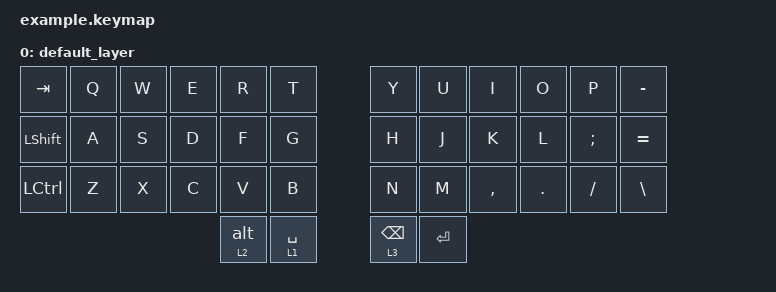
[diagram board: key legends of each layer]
 /*
 * Copyright (c) 2020 The ZMK Contributors
 *
 * SPDX-License-Identifier: MIT
 */

// 디폴트 키맵 설정

#include <behaviors.dtsi>
#include <dt-bindings/zmk/keys.h>


// 키 레이어 
#define DEFAULT 0 // 디폴트 아무것도 안 눌렀을때
#define UPPER 1 // 펑션 숫자, 기호 
#define LOWER 2 // 

/ {
    behaviors {
        td0: tap_dance_0 { //UPPER layer F11 F12 버튼 탭댄스
            compatible = "zmk,behavior-tap-dance";
            #binding-cells = <1>;
            tapping-term-ms = <200>;
            bindings = <&kp F11>, <&kp F12>;
        };

         td1: tap_dance_1 { //UPPER layer RALT,  버튼 탭댄스
            compatible = "zmk,behavior-tap-dance";
            #binding-cells = <1>;
            tapping-term-ms = <200>;
            bindings = <&kp F11>, <&kp F12>;
        };
    };



/ {
    keymap {
        compatible = "zmk,keymap";
 
        default_layer {
// ------------------------------------------------------------------------------------------------------------
// |  TAB  |  Q  |  W  |  E   |  R   |  T   |                             |  Y   |  U    |  I    |  O   |   P   |   -   |
// |  LSHIFT |  A  |  S  |  D   |  F   |  G   |                         |  H   |  J    |  K    |  L   |   ;   |   '   |
// |   LCTRL   |  Z  |  X  |  C   |  V   |  B   |                   |  N   |  M    |  ,    |  .   |   /   | SHIFT |
//                                 | ALT  | SPACE |               | BSPC |  ENTER  | 
bindings = <
&kp TAB   &kp Q         &kp W         &kp E          &kp R           &kp T                    /**/            &kp Y      &kp U           &kp I          &kp O         &kp P            &kp MINUS
&kp LSHIFT  &kp A         &kp S         &kp D          &kp F           &kp G                    /**/            &kp H      &kp J           &kp K          &kp L         &kp SEMI         &kp EQUAL
&kp LCTRL     &kp Z         &kp X         &kp C          &kp V           &kp B                    /**/            &kp N      &kp M           &kp COMMA      &kp DOT       &kp FSLH         &kp BSLH
                                                     &lt 2 alt       &lt 1 SPACE                /**/              &lt 3 BSPC   &kp RET                           
            >;
        };

// ------------------------------------------------------------------------------------------------------------
// |  ESC  |  F1 |  F2 |  F3  |  F4  |  F5  |                   |  F6  |  F7   |  F8   |  F9  |  F10  |F12, F12|
// | LSHIFT|  1  |  2  |  3   |  4   |  5   |                   |  6   |  7    |  8    |  9   |   10   |   '   |
// | LCTRL |  `~ | LWIN| PLAY | DEL  | INS  |                   | RALT |  HOME |  END  | PGUP |  PGDN  | SHIFT |
//                            | DEL  | SPACE|                   | BSPC |  RET  | 
//                            | LT2  | LT1  |                   | LT3  |       |
 upper_layer {
UPPER = <
&kp ESC    &kp F1        &kp F2        &kp F3         &kp F4          &kp F5                    /**/            &kp F6     &kp F7          &kp F8         &kp F9        &kp F10           &td0
&kp LSHIFT &kp N1        &kp N2        &kp N3         &kp N4          &kp N5                    /**/            &kp N6     &kp N7          &kp N8         &kp N9        &kp N0           &kp F12
&kp LCRL   &kp GRAVE     &kp LWIN      &kp K_PP        &kp DEL       &kp INS                 /**/            &kp RALT   &kp HOME        &kp END      &kp PG_UP       &kp PG_DN         &kp BSLH
                                                     &lt 2 alt       &lt 1 SPACE                /**/         &lt 3 BSPC   &kp RET                           
            >;
};
    };
};
